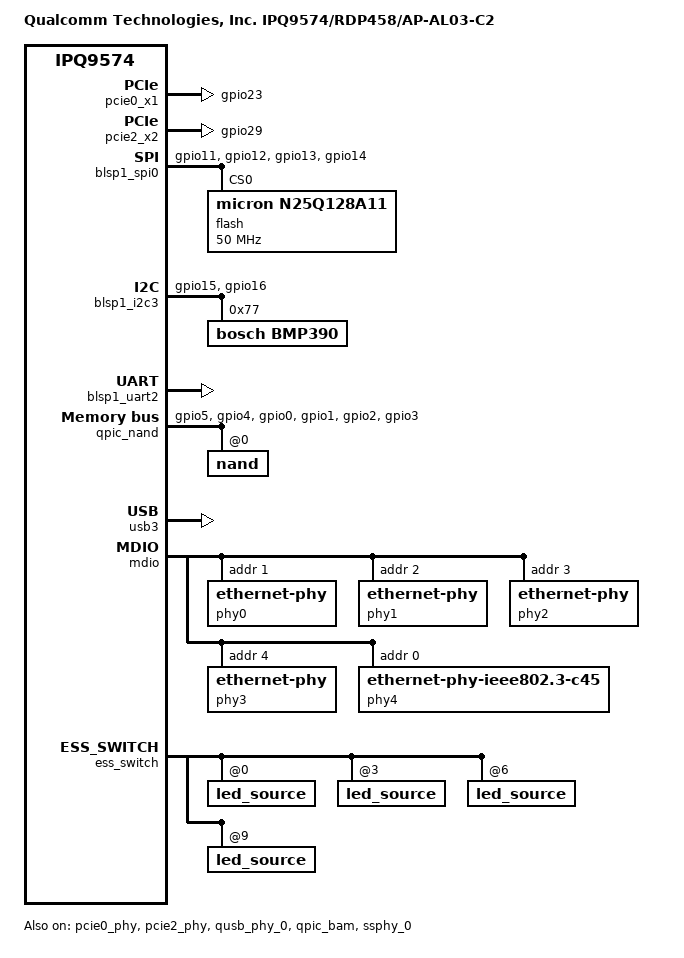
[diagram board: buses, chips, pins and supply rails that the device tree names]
// SPDX-License-Identifier: (GPL-2.0+ OR BSD-3-Clause)
/*
 * IPQ9574 RDP458 board device tree source
 *
 * Copyright (c) 2020-2021 The Linux Foundation. All rights reserved.
 * Copyright (c) 2022-2023 Qualcomm Innovation Center, Inc. All rights reserved.
 */

/dts-v1/;

#include <dt-bindings/gpio/gpio.h>
#include "ipq9574-qcn9224-default-memory.dtsi"
#include "ipq9574.dtsi"

/ {
	model = "Qualcomm Technologies, Inc. IPQ9574/RDP458/AP-AL03-C2";
	compatible = "qcom,ipq9574-ap-al03-c2", "qcom,ipq9574-rdp458", "qcom,ipq9574";

	aliases {
		serial0 = &blsp1_uart2;
	};

	chosen {
		stdout-path = "serial0:115200n8";
	};
};

&pcie0_x1 {
	pinctrl-0 = <&pci0_pin>;
	pinctrl-names = "default";
	perst-gpio = <&tlmm 23 GPIO_ACTIVE_LOW>;
	status = "okay";

	pcie0_rp {
		reg = <0 0 0 0 0>;
	};
};

&pcie0_phy {
	status = "okay";
};

&pcie2_x2 {
	pinctrl-0 = <&pci2_pin>;
	pinctrl-names = "default";
	perst-gpio = <&tlmm 29 GPIO_ACTIVE_LOW>;
	status = "okay";

	pcie2_rp {
		reg = <0 0 0 0 0>;
	};
};

&pcie2_phy {
	status = "okay";
};

&qusb_phy_0 {
	status = "okay";
};

&blsp1_spi0 { /* BLSP1 QUP0 */
	pinctrl-0 = <&spi_0_pins>;
	pinctrl-names = "default";
	cs-select = <0>;
	status = "okay";

	flash@0 {
		compatible = "micron,n25q128a11", "jedec,spi-nor";
		reg = <0>;
		#address-cells = <1>;
		#size-cells = <1>;
		spi-max-frequency = <50000000>;
	};
};

&blsp1_i2c3 {
	pinctrl-0 = <&i2c_3_pins>;
	pinctrl-names = "default";
	status = "okay";

	bmp390@77 {
		compatible = "bosch,bmp390";
		reg = <0x77>;
	};
};

&blsp1_uart2 {
	pinctrl-0 = <&uart2_pins>;
	pinctrl-names = "default";
	status = "okay";
};

&qpic_bam {
	status = "okay";
};

&qpic_nand {
	pinctrl-0 = <&qspi_nand_pins>;
	pinctrl-names = "default";
	status = "okay";

	nand@0 {
		reg = <0>;
		#address-cells = <1>;
		#size-cells = <1>;
		nand-ecc-strength = <4>;
		nand-ecc-step-size = <512>;
		nand-bus-width = <8>;
	};
};

&sleep_clk {
	clock-frequency = <32000>;
};

&ssphy_0 {
	status = "okay";
};

&rpm_requests {
	regulators {
		compatible = "qcom,rpm-mp5496-regulators";

		ipq9574_s1: s1 {
		 /*
		 * During kernel bootup, the SoC runs at 800MHz with 875mV set by the bootloaders.
		 * During regulator registration, kernel not knowing the initial voltage,
		 * considers it as zero and brings up the regulators with minimum supported voltage.
		 * Updating the regulator-min-microvolt with SVS voltage of 725000uV so that
		 * the regulators are brought up with 725000uV which is sufficient for all the
		 * corner parts to operate at 800MHz
		 */
			regulator-min-microvolt = <725000>;
			regulator-max-microvolt = <1075000>;
		};
	};
};

&tlmm {
	pci0_pin: pci0-default-state {
		pins = "gpio23";
		function = "gpio";
		drive-strength = <8>;
		bias-pull-up;
		output-low;
	};

	pci2_pin: pci2-default-state {
		pins = "gpio29";
		function = "gpio";
		drive-strength = <8>;
		bias-pull-down;
		output-low;
	};

	i2c_3_pins: i2c-3-pins {
		pins = "gpio15", "gpio16";
		function = "blsp3_i2c";
		drive-strength = <8>;
		bias-disable;
	};

	spi_0_pins: spi-0-pins {
		pins = "gpio11", "gpio12", "gpio13", "gpio14";
		function = "blsp0_spi";
		drive-strength = <8>;
		bias-disable;
	};

	qspi_nand_pins: qspi_nand_pins {
		qspi_clock {
			pins = "gpio5";
			function = "qspi_clk";
			drive-strength = <8>;
			bias-disable;
		};

		qspi_cs {
			pins = "gpio4";
			function = "qspi_cs";
			drive-strength = <8>;
			bias-disable;
		};

		qspi_data {
			pins = "gpio0", "gpio1", "gpio2", "gpio3";
			function = "qspi_data";
			drive-strength = <8>;
			bias-disable;
		};
	};
};

&usb3 {
	status = "okay";
};

&xo_board_clk {
	clock-frequency = <24000000>;
};

&mdio {
	status = "ok";
	pinctrl-0 = <&mdio_pins>;
	pinctrl-names = "default";
	/*gpio60 for manhattan reset*/
	phy-reset-gpio = <&tlmm 60 GPIO_ACTIVE_LOW>;
	phyaddr_fixup = <0xC90F018>;
	uniphyaddr_fixup = <0xC90F014>;
	mdio_clk_fixup; /* MDIO clock sequence fix up flag */

	phy0: ethernet-phy@0 {
		      reg = <1>;
		      fixup;
	      };
	phy1: ethernet-phy@1 {
		      reg = <2>;
		      fixup;
	      };
	phy2: ethernet-phy@2 {
		      reg = <3>;
		      fixup;
	      };
	phy3: ethernet-phy@3 {
		      reg = <4>;
		      fixup;
	      };
	phy4: ethernet-phy@4 {
		      compatible ="ethernet-phy-ieee802.3-c45";
		      reg = <0>;
	      };
};

&ess_switch {
	switch_cpu_bmp = <0x1>;  /* cpu port bitmap */
	switch_lan_bmp = <0x1e>; /* lan port bitmap */
	switch_wan_bmp = <0x40>; /* wan port bitmap */
	switch_mac_mode = <0x15>; /* mac mode for uniphy instance0*/
	switch_mac_mode1 = <0xff>; /* mac mode for uniphy instance1*/
	switch_mac_mode2 = <0xd>; /* mac mode for uniphy instance2*/
	bm_tick_mode = <0>; /* bm tick mode */
	tm_tick_mode = <1>; /* tm tick mode */
	cmnblk_clk = "internal_96MHz"; /* cmnblk clk*/
	qcom,port_phyinfo {
		port@0 {
			port_id = <1>;
			phy_address = <1>;
		};
		port@1 {
			port_id = <2>;
			phy_address = <2>;
		};
		port@2 {
			port_id = <3>;
			phy_address = <3>;
		};
		port@3 {
			port_id = <4>;
			phy_address = <4>;
		};
		port@4 {
			port_id = <6>;
			phy_address = <0>;
			ethernet-phy-ieee802.3-c45;
		};
	};

	led_source@0 {
		source = <0>;
		mode = "normal";
		speed = "all";
		blink_en = "enable";
		active = "high";
	};
	led_source@3 {
		source = <3>;
		mode = "normal";
		speed = "all";
		blink_en = "enable";
		active = "high";
	};
	led_source@6 {
		source = <6>;
		mode = "normal";
		speed = "all";
		blink_en = "enable";
		active = "high";
	};
	led_source@9 {
		source = <9>;
		mode = "normal";
		speed = "all";
		blink_en = "enable";
		active = "high";
	};
};
